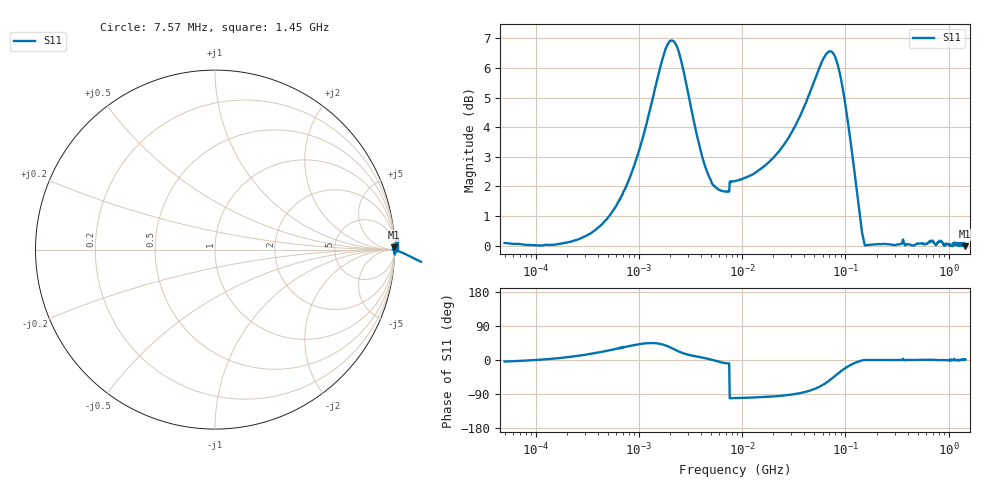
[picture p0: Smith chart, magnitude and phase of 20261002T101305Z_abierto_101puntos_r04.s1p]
! piloto_saltos / abierto_101puntos / r04
# HZ S RI R 50
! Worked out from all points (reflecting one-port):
!   501 points, 50 kHz to 1.45 GHz, reference 50 ohm
!   lowest |S11| = 0.0 dB at 1.423 GHz (marker M1), VSWR 815.68, Z = 1.49e+03 + j7.65e+03 ohm
!   phase of S11 starts at -4 deg and turns +5 deg over the sweep
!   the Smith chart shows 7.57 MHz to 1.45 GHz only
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50000  1.008 -0.0705
183000  1.003 0.106
363500  1.008 0.3181
658000  1.029 0.6101
1180000  1.15 1.116
1630000  1.499 1.355
1990000  1.842 1.233
2440000  1.961 0.8053
3340000  1.615 0.3175
4870000  1.297 0.043
7300000  1.218 -0.1936
7750000  -0.2398 -1.258
8560000  -0.2346 -1.264
1.81e7  -0.1675 -1.373
3.16e7  -0.00976 -1.578
4.69e7  0.34 -1.812
5.68e7  0.6987 -1.885
6.49e7  1.045 -1.828
7.39e7  1.399 -1.598
8.65e7  1.651 -1.101
9.82e7  1.628 -0.6743
1e8  1.61 -0.6202
1.18e8  1.378 -0.2444
1.36e8  1.148 -0.068
1.63e8  1.002 0.000158
4.06e8  1.005 -0.00141
1.423e9  0.9975 0.0126
1.45e9  1.002 0.014
